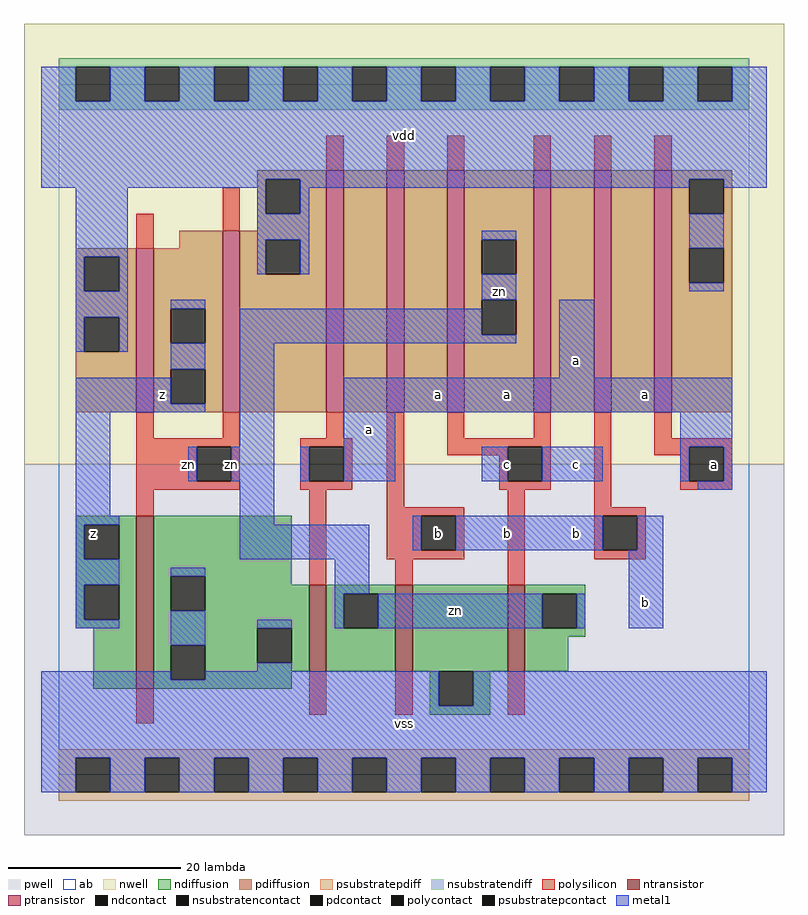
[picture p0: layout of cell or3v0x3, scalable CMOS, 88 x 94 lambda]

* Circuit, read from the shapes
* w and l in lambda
.subckt or3v0x3 a b c vdd vss z zn
M1 vss zn z vss nfet w=20 l=2
M2 zn a vss vss nfet w=10 l=2
M3 vss b zn vss nfet w=10 l=2
M4 zn c vss vss nfet w=10 l=2
M5 z zn vdd vdd pfet w=19 l=2
M6 vdd zn z vdd pfet w=21 l=2
M7 n1 a vdd vdd pfet w=28 l=2
M8 n2 b n1 vdd pfet w=28 l=2
M9 zn c n2 vdd pfet w=28 l=2
M10 n3 c zn vdd pfet w=28 l=2
M11 n4 b n3 vdd pfet w=28 l=2
M12 vdd a n4 vdd pfet w=28 l=2
.ends

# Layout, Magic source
magic
tech scmos
<< ab >>
rect 0 0 80 80
<< pwell >>
rect -4 -7 84 36
<< nwell >>
rect -4 36 84 87
<< polysilicon >>
rect 31 70 33 74
rect 38 70 40 74
rect 45 70 47 74
rect 55 70 57 74
rect 62 70 64 74
rect 69 70 71 74
rect 9 61 11 65
rect 19 63 21 68
rect 9 39 11 42
rect 19 39 21 42
rect 31 39 33 42
rect 9 38 21 39
rect 9 34 16 38
rect 20 34 21 38
rect 9 33 21 34
rect 28 38 34 39
rect 28 34 29 38
rect 33 34 34 38
rect 28 33 34 34
rect 9 30 11 33
rect 29 22 31 33
rect 38 31 40 42
rect 45 39 47 42
rect 55 39 57 42
rect 45 38 57 39
rect 45 37 52 38
rect 51 34 52 37
rect 56 34 57 38
rect 51 33 57 34
rect 38 30 47 31
rect 38 26 42 30
rect 46 26 47 30
rect 38 25 47 26
rect 39 22 41 25
rect 52 22 54 33
rect 62 31 64 42
rect 69 39 71 42
rect 69 38 78 39
rect 69 37 73 38
rect 72 34 73 37
rect 77 34 78 38
rect 72 33 78 34
rect 62 30 68 31
rect 62 26 63 30
rect 67 26 68 30
rect 62 25 68 26
rect 9 6 11 10
rect 29 7 31 12
rect 39 7 41 12
rect 52 7 54 12
<< ndiffusion >>
rect 2 29 9 30
rect 2 25 3 29
rect 7 25 9 29
rect 2 22 9 25
rect 2 18 3 22
rect 7 18 9 22
rect 2 17 9 18
rect 4 10 9 17
rect 11 23 27 30
rect 11 19 13 23
rect 17 22 27 23
rect 17 19 29 22
rect 11 17 29 19
rect 11 15 23 17
rect 11 11 13 15
rect 17 13 23 15
rect 27 13 29 17
rect 17 12 29 13
rect 31 21 39 22
rect 31 17 33 21
rect 37 17 39 21
rect 31 12 39 17
rect 41 12 52 22
rect 54 21 61 22
rect 54 17 56 21
rect 60 17 61 21
rect 54 16 61 17
rect 54 12 59 16
rect 17 11 27 12
rect 11 10 27 11
rect 43 8 44 12
rect 48 8 50 12
rect 43 7 50 8
<< pdiffusion >>
rect 23 69 31 70
rect 23 65 24 69
rect 28 65 31 69
rect 23 63 31 65
rect 14 61 19 63
rect 2 60 9 61
rect 2 56 3 60
rect 7 56 9 60
rect 2 53 9 56
rect 2 49 3 53
rect 7 49 9 53
rect 2 42 9 49
rect 11 54 19 61
rect 11 50 13 54
rect 17 50 19 54
rect 11 47 19 50
rect 11 43 13 47
rect 17 43 19 47
rect 11 42 19 43
rect 21 62 31 63
rect 21 58 24 62
rect 28 58 31 62
rect 21 42 31 58
rect 33 42 38 70
rect 40 42 45 70
rect 47 62 55 70
rect 47 58 49 62
rect 53 58 55 62
rect 47 55 55 58
rect 47 51 49 55
rect 53 51 55 55
rect 47 42 55 51
rect 57 42 62 70
rect 64 42 69 70
rect 71 69 78 70
rect 71 65 73 69
rect 77 65 78 69
rect 71 61 78 65
rect 71 57 73 61
rect 77 57 78 61
rect 71 42 78 57
<< metal1 >>
rect -2 78 2 82
rect 6 78 10 82
rect 14 78 18 82
rect 22 78 26 82
rect 30 78 34 82
rect 38 78 42 82
rect 46 78 50 82
rect 54 78 58 82
rect 62 78 66 82
rect 70 78 74 82
rect 78 78 82 82
rect -2 69 82 78
rect -2 68 24 69
rect 2 60 8 68
rect 2 56 3 60
rect 7 56 8 60
rect 23 65 24 68
rect 28 68 73 69
rect 28 65 29 68
rect 23 62 29 65
rect 77 68 82 69
rect 23 58 24 62
rect 28 58 29 62
rect 49 62 53 63
rect 2 53 8 56
rect 49 55 53 58
rect 73 61 77 65
rect 73 56 77 57
rect 2 49 3 53
rect 7 49 8 53
rect 13 54 17 55
rect 13 47 17 50
rect 2 43 13 46
rect 2 42 17 43
rect 21 51 49 54
rect 21 50 53 51
rect 2 30 6 42
rect 21 38 25 50
rect 58 46 62 55
rect 33 42 78 46
rect 15 34 16 38
rect 20 34 25 38
rect 28 34 29 38
rect 33 34 39 42
rect 72 38 78 42
rect 49 34 52 38
rect 56 34 63 38
rect 72 34 73 38
rect 77 34 78 38
rect 2 29 7 30
rect 2 25 3 29
rect 21 29 25 34
rect 74 33 78 34
rect 21 25 36 29
rect 41 26 42 30
rect 46 26 63 30
rect 67 26 70 30
rect 2 22 7 25
rect 2 18 3 22
rect 2 17 7 18
rect 13 23 17 24
rect 13 15 17 19
rect 32 21 36 25
rect -2 11 13 12
rect 23 17 27 18
rect 32 17 33 21
rect 37 17 56 21
rect 60 17 61 21
rect 66 17 70 26
rect 23 12 27 13
rect 17 11 44 12
rect -2 8 44 11
rect 48 8 82 12
rect -2 2 82 8
rect -2 -2 2 2
rect 6 -2 10 2
rect 14 -2 18 2
rect 22 -2 26 2
rect 30 -2 34 2
rect 38 -2 42 2
rect 46 -2 50 2
rect 54 -2 58 2
rect 62 -2 66 2
rect 70 -2 74 2
rect 78 -2 82 2
<< ntransistor >>
rect 9 10 11 30
rect 29 12 31 22
rect 39 12 41 22
rect 52 12 54 22
<< ptransistor >>
rect 9 42 11 61
rect 19 42 21 63
rect 31 42 33 70
rect 38 42 40 70
rect 45 42 47 70
rect 55 42 57 70
rect 62 42 64 70
rect 69 42 71 70
<< polycontact >>
rect 16 34 20 38
rect 29 34 33 38
rect 52 34 56 38
rect 42 26 46 30
rect 73 34 77 38
rect 63 26 67 30
<< ndcontact >>
rect 3 25 7 29
rect 3 18 7 22
rect 13 19 17 23
rect 13 11 17 15
rect 23 13 27 17
rect 33 17 37 21
rect 56 17 60 21
rect 44 8 48 12
<< pdcontact >>
rect 24 65 28 69
rect 3 56 7 60
rect 3 49 7 53
rect 13 50 17 54
rect 13 43 17 47
rect 24 58 28 62
rect 49 58 53 62
rect 49 51 53 55
rect 73 65 77 69
rect 73 57 77 61
<< psubstratepcontact >>
rect 2 -2 6 2
rect 10 -2 14 2
rect 18 -2 22 2
rect 26 -2 30 2
rect 34 -2 38 2
rect 42 -2 46 2
rect 50 -2 54 2
rect 58 -2 62 2
rect 66 -2 70 2
rect 74 -2 78 2
<< nsubstratencontact >>
rect 2 78 6 82
rect 10 78 14 82
rect 18 78 22 82
rect 26 78 30 82
rect 34 78 38 82
rect 42 78 46 82
rect 50 78 54 82
rect 58 78 62 82
rect 66 78 70 82
rect 74 78 78 82
<< psubstratepdiff >>
rect 0 2 80 3
rect 0 -2 2 2
rect 6 -2 10 2
rect 14 -2 18 2
rect 22 -2 26 2
rect 30 -2 34 2
rect 38 -2 42 2
rect 46 -2 50 2
rect 54 -2 58 2
rect 62 -2 66 2
rect 70 -2 74 2
rect 78 -2 80 2
rect 0 -3 80 -2
<< nsubstratendiff >>
rect 0 82 80 83
rect 0 78 2 82
rect 6 78 10 82
rect 14 78 18 82
rect 22 78 26 82
rect 30 78 34 82
rect 38 78 42 82
rect 46 78 50 82
rect 54 78 58 82
rect 62 78 66 82
rect 70 78 74 82
rect 78 78 80 82
rect 0 77 80 78
<< labels >>
rlabel polysilicon 15 36 15 36 6 zn
rlabel ndcontact 4 28 4 28 6 z
rlabel metal1 12 44 12 44 6 z
rlabel metal1 20 36 20 36 6 zn
rlabel metal1 40 6 40 6 6 vss
rlabel polycontact 44 28 44 28 6 b
rlabel metal1 44 44 44 44 6 a
rlabel metal1 36 40 36 40 6 a
rlabel metal1 40 74 40 74 6 vdd
rlabel metal1 52 28 52 28 6 b
rlabel metal1 46 19 46 19 6 zn
rlabel metal1 60 28 60 28 6 b
rlabel metal1 52 36 52 36 6 c
rlabel metal1 52 44 52 44 6 a
rlabel metal1 60 36 60 36 6 c
rlabel metal1 60 48 60 48 6 a
rlabel metal1 51 56 51 56 6 zn
rlabel metal1 68 20 68 20 6 b
rlabel metal1 68 44 68 44 6 a
rlabel polycontact 76 36 76 36 6 a
<< end >>
